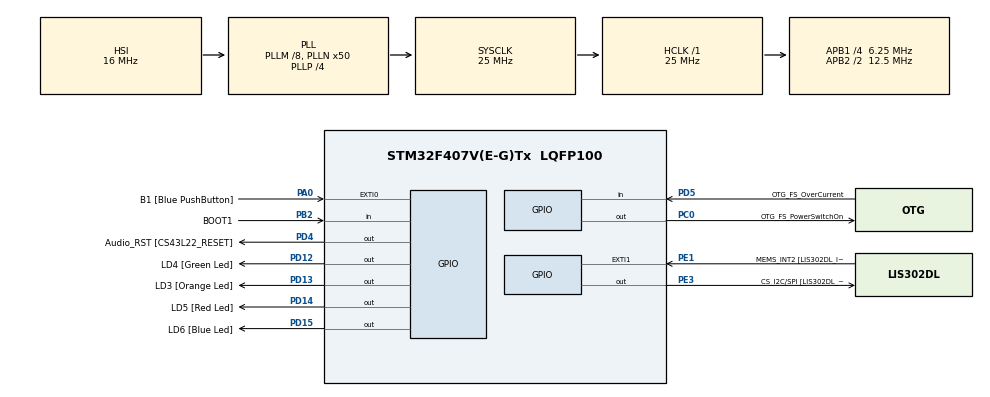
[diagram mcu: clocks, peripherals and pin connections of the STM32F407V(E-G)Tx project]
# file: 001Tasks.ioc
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Mcu.Family=STM32F4
Mcu.Name=STM32F407V(E-G)Tx
Mcu.Package=LQFP100
NVIC.PriorityGroup=NVIC_PRIORITYGROUP_4
NVIC.TIM6_DAC_IRQn=true\:15\:0\:false\:false\:true\:false\:true
NVIC.TimeBase=TIM6_DAC_IRQn
NVIC.TimeBaseIP=TIM6
PA0-WKUP.GPIO_Label=B1 [Blue PushButton]
PA0-WKUP.Signal=GPXTI0
PA10.GPIO_Label=OTG_FS_ID
PA10.GPIO_Mode=GPIO_MODE_AF_PP
PA10.GPIO_PuPd=GPIO_NOPULL
PA10.GPIO_Speed=GPIO_SPEED_FREQ_LOW
PA10.Signal=USB_OTG_FS_ID
PA11.GPIO_Label=OTG_FS_DM
PA11.GPIO_Mode=GPIO_MODE_AF_PP
PA11.GPIO_PuPd=GPIO_NOPULL
PA11.GPIO_Speed=GPIO_SPEED_FREQ_LOW
PA11.Signal=USB_OTG_FS_DM
PA12.GPIO_Label=OTG_FS_DP
PA12.GPIO_Mode=GPIO_MODE_AF_PP
PA12.GPIO_PuPd=GPIO_NOPULL
PA12.GPIO_Speed=GPIO_SPEED_FREQ_LOW
PA12.Signal=USB_OTG_FS_DP
PA13.GPIO_Label=SWDIO
PA13.Signal=SYS_JTMS-SWDIO
PA14.GPIO_Label=SWCLK
PA14.Signal=SYS_JTCK-SWCLK
PA4.GPIO_Label=I2S3_WS [CS43L22_LRCK]
PA4.GPIO_Mode=GPIO_MODE_AF_PP
PA4.GPIO_PuPd=GPIO_NOPULL
PA4.GPIO_Speed=GPIO_SPEED_FREQ_LOW
PA4.Signal=I2S3_WS
PA5.GPIO_Label=SPI1_SCK [LIS302DL_SCL/SPC]
PA5.GPIO_Mode=GPIO_MODE_AF_PP
PA5.GPIO_PuPd=GPIO_NOPULL
PA5.GPIO_Speed=GPIO_SPEED_FREQ_LOW
PA5.Signal=SPI1_SCK
PA6.GPIO_Label=SPI1_MISO [LIS302DL_SDO]
PA6.GPIO_Mode=GPIO_MODE_AF_PP
PA6.GPIO_PuPd=GPIO_NOPULL
PA6.GPIO_Speed=GPIO_SPEED_FREQ_LOW
PA6.Signal=SPI1_MISO
PA7.GPIO_Label=SPI1_MOSI [LIS302DL_SDA/SDI/SDO]
PA7.GPIO_Mode=GPIO_MODE_AF_PP
PA7.GPIO_PuPd=GPIO_NOPULL
PA7.GPIO_Speed=GPIO_SPEED_FREQ_LOW
PA7.Signal=SPI1_MOSI
PA9.GPIO_Label=VBUS_FS
PA9.GPIO_Mode=GPIO_MODE_INPUT
PA9.GPIO_PuPd=GPIO_NOPULL
PA9.Signal=USB_OTG_FS_VBUS
PB10.GPIO_Label=CLK_IN [MP45DT02_CLK]
PB10.GPIO_Mode=GPIO_MODE_AF_PP
PB10.GPIO_PuPd=GPIO_NOPULL
PB10.GPIO_Speed=GPIO_SPEED_FREQ_LOW
PB10.Signal=I2S2_CK
PB2.GPIO_Label=BOOT1
PB2.GPIO_Mode=GPIO_MODE_INPUT
PB2.GPIO_PuPd=GPIO_NOPULL
PB2.Signal=GPIO_Input
PB3.GPIO_Label=SWO
PB3.Signal=SYS_JTDO-SWO
PB6.GPIO_Label=Audio_SCL [CS43L22_SCL]
PB6.GPIO_Mode=GPIO_MODE_AF_OD
PB6.GPIO_PuPd=GPIO_NOPULL
PB6.GPIO_Speed=GPIO_SPEED_FREQ_LOW
PB6.Signal=I2C1_SCL
PB9.GPIO_Label=Audio_SDA [CS43L22_SDA]
PB9.GPIO_Mode=GPIO_MODE_AF_OD
PB9.GPIO_PuPd=GPIO_NOPULL
PB9.GPIO_Speed=GPIO_SPEED_FREQ_LOW
PB9.Signal=I2C1_SDA
PC0.GPIO_Label=OTG_FS_PowerSwitchOn
PC0.GPIO_PuPd=GPIO_NOPULL
PC0.GPIO_Speed=GPIO_SPEED_FREQ_LOW
PC0.PinState=GPIO_PIN_SET
PC0.Signal=GPIO_Output
PC10.GPIO_Label=I2S3_SCK [CS43L22_SCLK]
PC10.GPIO_Mode=GPIO_MODE_AF_PP
PC10.GPIO_PuPd=GPIO_NOPULL
PC10.GPIO_Speed=GPIO_SPEED_FREQ_LOW
PC10.Signal=I2S3_CK
PC12.GPIO_Label=I2S3_SD [CS43L22_SDIN]
PC12.GPIO_Mode=GPIO_MODE_AF_PP
PC12.GPIO_PuPd=GPIO_NOPULL
PC12.GPIO_Speed=GPIO_SPEED_FREQ_LOW
PC12.Signal=I2S3_SD
PC14-OSC32_IN.GPIO_Label=PC14-OSC32_IN
PC14-OSC32_IN.Signal=RCC_OSC32_IN
PC15-OSC32_OUT.GPIO_Label=PC15-OSC32_OUT
PC15-OSC32_OUT.Signal=RCC_OSC32_OUT
PC3.GPIO_Label=PDM_OUT [MP45DT02_DOUT]
PC3.GPIO_Mode=GPIO_MODE_AF_PP
PC3.GPIO_PuPd=GPIO_NOPULL
PC3.GPIO_Speed=GPIO_SPEED_FREQ_LOW
PC3.Signal=I2S2_SD
PC7.GPIO_Label=I2S3_MCK [CS43L22_MCLK]
PC7.GPIO_Mode=GPIO_MODE_AF_PP
PC7.GPIO_PuPd=GPIO_NOPULL
PC7.GPIO_Speed=GPIO_SPEED_FREQ_LOW
PC7.Signal=I2S3_MCK
PD12.GPIO_Label=LD4 [Green Led]
PD12.GPIO_PuPd=GPIO_NOPULL
PD12.GPIO_Speed=GPIO_SPEED_FREQ_LOW
PD12.Signal=GPIO_Output
PD13.GPIO_Label=LD3 [Orange Led]
PD13.GPIO_PuPd=GPIO_NOPULL
PD13.GPIO_Speed=GPIO_SPEED_FREQ_LOW
PD13.Signal=GPIO_Output
PD14.GPIO_Label=LD5 [Red Led]
PD14.GPIO_PuPd=GPIO_NOPULL
PD14.GPIO_Speed=GPIO_SPEED_FREQ_LOW
PD14.Signal=GPIO_Output
PD15.GPIO_Label=LD6 [Blue Led]
PD15.GPIO_PuPd=GPIO_NOPULL
PD15.GPIO_Speed=GPIO_SPEED_FREQ_LOW
PD15.Signal=GPIO_Output
PD4.GPIO_Label=Audio_RST [CS43L22_RESET]
PD4.GPIO_PuPd=GPIO_NOPULL
PD4.GPIO_Speed=GPIO_SPEED_FREQ_LOW
PD4.Signal=GPIO_Output
PD5.GPIO_Label=OTG_FS_OverCurrent
PD5.GPIO_Mode=GPIO_MODE_INPUT
PD5.GPIO_PuPd=GPIO_NOPULL
PD5.Signal=GPIO_Input
PE1.GPIO_Label=MEMS_INT2 [LIS302DL_INT2]
PE1.GPIO_ModeDefaultEXTI=GPIO_MODE_EVT_RISING
PE1.GPIO_PuPd=GPIO_NOPULL
PE1.Signal=GPXTI1
PE3.GPIO_Label=CS_I2C/SPI [LIS302DL_CS_I2C/SPI]
PE3.GPIO_PuPd=GPIO_NOPULL
PE3.GPIO_Speed=GPIO_SPEED_FREQ_LOW
PE3.Signal=GPIO_Output
PH0-OSC_IN.GPIO_Label=PH0-OSC_IN
PH0-OSC_IN.Signal=RCC_OSC_IN
PH1-OSC_OUT.GPIO_Label=PH1-OSC_OUT
PH1-OSC_OUT.Signal=RCC_OSC_OUT
ProjectManager.HeapSize=0x200
ProjectManager.StackSize=0x400
ProjectManager.TargetToolchain=STM32CubeIDE
RCC.48MHZClocksFreq_Value=14285714.285714285
RCC.AHBFreq_Value=25000000
RCC.APB1CLKDivider=RCC_HCLK_DIV4
RCC.APB1Freq_Value=6250000
RCC.APB1TimFreq_Value=12500000
RCC.APB2CLKDivider=RCC_HCLK_DIV2
RCC.APB2Freq_Value=12500000
RCC.APB2TimFreq_Value=25000000
RCC.CortexFreq_Value=25000000
RCC.HCLKFreq_Value=25000000
RCC.HSE_VALUE=8000000
RCC.HSI_VALUE=16000000
RCC.LSE_VALUE=32768
RCC.PLLM=8
RCC.PLLN=50
RCC.PLLP=RCC_PLLP_DIV4
RCC.PLLQ=7
RCC.SYSCLKFreq_VALUE=25000000
RCC.SYSCLKSource=RCC_SYSCLKSOURCE_PLLCLK
RCC.VCOOutputFreq_Value=100000000
VP_SYS_VS_tim6.Mode=TIM6
board=STM32F407G-DISC1

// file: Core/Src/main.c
/* USER CODE BEGIN Header */
/**
  ******************************************************************************
  * @file           : main.c
  * @brief          : Main program body
  ******************************************************************************
  * @attention
  *
  * Copyright (c) 2022 STMicroelectronics.
  * All rights reserved.
  *
  * This software is licensed under terms that can be found in the LICENSE file
  * in the root directory of this software component.
  * If no LICENSE file comes with this software, it is provided AS-IS.
  *
  ******************************************************************************
  */
/* USER CODE END Header */
#include "main.h"

/* USER CODE BEGIN Includes */
#include <stdio.h>
#include "FreeRTOS.h"
#include "task.h"

/* USER CODE END Includes */

/* USER CODE BEGIN PV */
//for segger timer setting
#define DWT_CTRL    (*(volatile uint32_t*)0xE0001000)

/* USER CODE END PV */

void SystemClock_Config(void);
static void MX_GPIO_Init(void);
/* USER CODE BEGIN PFP */
static void task1_handler(void* parameters);
static void task2_handler(void* parameters);
/* USER CODE END PFP */

int main(void)
{
  /* USER CODE BEGIN 1 */
  TaskHandle_t task1_handle;
  TaskHandle_t task2_handle;

  BaseType_t  status;
  /* USER CODE END 1 */

  /* MCU Configuration--------------------------------------------------------*/

  /* Reset of all peripherals, Initializes the Flash interface and the Systick. */
  HAL_Init();

  /* Configure the system clock */
  SystemClock_Config();

  /* Initialize all configured peripherals */
  MX_GPIO_Init();
  /* USER CODE BEGIN 2 */

  //for SEGGER settings
  DWT_CTRL |= ( 1 << 0);

  SEGGER_SYSVIEW_Conf();
  SEGGER_SYSVIEW_Start();
  //end of segger settings

  status = xTaskCreate(
						  task1_handler,       /* Function that implements the task. */
						  "task-1",          /* Text name for the task. */
						  200,      /* Stack size in words, not bytes. */
						  "hello world from Task-1",    /* Parameter passed into the task. */
						  2,/* Priority at which the task is created. */
						  &task1_handle );
  configASSERT(status == pdPASS);

  status = xTaskCreate(
  						  task2_handler,       /* Function that implements the task. */
  						  "task-2",          /* Text name for the task. */
  						  200,      /* Stack size in words, not bytes. */
  						  "hello world from Task-2",    /* Parameter passed into the task. */
  						  2,/* Priority at which the task is created. */
  						  &task2_handle );
  configASSERT(status == pdPASS);

  //start the freeRTOS scheduler
  vTaskStartScheduler();

  /* USER CODE END 2 */

  /* Infinite loop */
  while (1)
  {

  }
}

void SystemClock_Config(void)
{
  RCC_OscInitTypeDef RCC_OscInitStruct = {0};
  RCC_ClkInitTypeDef RCC_ClkInitStruct = {0};

  /** Configure the main internal regulator output voltage
  */
  __HAL_RCC_PWR_CLK_ENABLE();
  __HAL_PWR_VOLTAGESCALING_CONFIG(PWR_REGULATOR_VOLTAGE_SCALE1);
  /** Initializes the RCC Oscillators according to the specified parameters
  * in the RCC_OscInitTypeDef structure.
  */
  RCC_OscInitStruct.OscillatorType = RCC_OSCILLATORTYPE_HSI;
  RCC_OscInitStruct.HSIState = RCC_HSI_ON;
  RCC_OscInitStruct.HSICalibrationValue = RCC_HSICALIBRATION_DEFAULT;
  RCC_OscInitStruct.PLL.PLLState = RCC_PLL_ON;
  RCC_OscInitStruct.PLL.PLLSource = RCC_PLLSOURCE_HSI;
  RCC_OscInitStruct.PLL.PLLM = 8;
  RCC_OscInitStruct.PLL.PLLN = 50;
  RCC_OscInitStruct.PLL.PLLP = RCC_PLLP_DIV4;
  RCC_OscInitStruct.PLL.PLLQ = 7;
  if (HAL_RCC_OscConfig(&RCC_OscInitStruct) != HAL_OK)
  {
    Error_Handler();
  }
  /** Initializes the CPU, AHB and APB buses clocks
  */
  RCC_ClkInitStruct.ClockType = RCC_CLOCKTYPE_HCLK|RCC_CLOCKTYPE_SYSCLK
                              |RCC_CLOCKTYPE_PCLK1|RCC_CLOCKTYPE_PCLK2;
  RCC_ClkInitStruct.SYSCLKSource = RCC_SYSCLKSOURCE_PLLCLK;
  RCC_ClkInitStruct.AHBCLKDivider = RCC_SYSCLK_DIV1;
  RCC_ClkInitStruct.APB1CLKDivider = RCC_HCLK_DIV4;
  RCC_ClkInitStruct.APB2CLKDivider = RCC_HCLK_DIV2;

  if (HAL_RCC_ClockConfig(&RCC_ClkInitStruct, FLASH_LATENCY_0) != HAL_OK)
  {
    Error_Handler();
  }
}

static void MX_GPIO_Init(void)
{
  GPIO_InitTypeDef GPIO_InitStruct = {0};

  /* GPIO Ports Clock Enable */
  __HAL_RCC_GPIOE_CLK_ENABLE();
  __HAL_RCC_GPIOC_CLK_ENABLE();
  __HAL_RCC_GPIOH_CLK_ENABLE();
  __HAL_RCC_GPIOA_CLK_ENABLE();
  __HAL_RCC_GPIOB_CLK_ENABLE();
  __HAL_RCC_GPIOD_CLK_ENABLE();

  /*Configure GPIO pin Output Level */
  HAL_GPIO_WritePin(CS_I2C_SPI_GPIO_Port, CS_I2C_SPI_Pin, GPIO_PIN_RESET);

  /*Configure GPIO pin Output Level */
  HAL_GPIO_WritePin(OTG_FS_PowerSwitchOn_GPIO_Port, OTG_FS_PowerSwitchOn_Pin, GPIO_PIN_SET);

  /*Configure GPIO pin Output Level */
  HAL_GPIO_WritePin(GPIOD, LD4_Pin|LD3_Pin|LD5_Pin|LD6_Pin
                          |Audio_RST_Pin, GPIO_PIN_RESET);

  /*Configure GPIO pin : CS_I2C_SPI_Pin */
  GPIO_InitStruct.Pin = CS_I2C_SPI_Pin;
  GPIO_InitStruct.Mode = GPIO_MODE_OUTPUT_PP;
  GPIO_InitStruct.Pull = GPIO_NOPULL;
  GPIO_InitStruct.Speed = GPIO_SPEED_FREQ_LOW;
  HAL_GPIO_Init(CS_I2C_SPI_GPIO_Port, &GPIO_InitStruct);

  /*Configure GPIO pin : OTG_FS_PowerSwitchOn_Pin */
  GPIO_InitStruct.Pin = OTG_FS_PowerSwitchOn_Pin;
  GPIO_InitStruct.Mode = GPIO_MODE_OUTPUT_PP;
  GPIO_InitStruct.Pull = GPIO_NOPULL;
  GPIO_InitStruct.Speed = GPIO_SPEED_FREQ_LOW;
  HAL_GPIO_Init(OTG_FS_PowerSwitchOn_GPIO_Port, &GPIO_InitStruct);

  /*Configure GPIO pin : PDM_OUT_Pin */
  GPIO_InitStruct.Pin = PDM_OUT_Pin;
  GPIO_InitStruct.Mode = GPIO_MODE_AF_PP;
  GPIO_InitStruct.Pull = GPIO_NOPULL;
  GPIO_InitStruct.Speed = GPIO_SPEED_FREQ_LOW;
  GPIO_InitStruct.Alternate = GPIO_AF5_SPI2;
  HAL_GPIO_Init(PDM_OUT_GPIO_Port, &GPIO_InitStruct);

  /*Configure GPIO pin : B1_Pin */
  GPIO_InitStruct.Pin = B1_Pin;
  GPIO_InitStruct.Mode = GPIO_MODE_IT_RISING;
  GPIO_InitStruct.Pull = GPIO_NOPULL;
  HAL_GPIO_Init(B1_GPIO_Port, &GPIO_InitStruct);

  /*Configure GPIO pin : I2S3_WS_Pin */
  GPIO_InitStruct.Pin = I2S3_WS_Pin;
  GPIO_InitStruct.Mode = GPIO_MODE_AF_PP;
  GPIO_InitStruct.Pull = GPIO_NOPULL;
  GPIO_InitStruct.Speed = GPIO_SPEED_FREQ_LOW;
  GPIO_InitStruct.Alternate = GPIO_AF6_SPI3;
  HAL_GPIO_Init(I2S3_WS_GPIO_Port, &GPIO_InitStruct);

  /*Configure GPIO pins : SPI1_SCK_Pin SPI1_MISO_Pin SPI1_MOSI_Pin */
  GPIO_InitStruct.Pin = SPI1_SCK_Pin|SPI1_MISO_Pin|SPI1_MOSI_Pin;
  GPIO_InitStruct.Mode = GPIO_MODE_AF_PP;
  GPIO_InitStruct.Pull = GPIO_NOPULL;
  GPIO_InitStruct.Speed = GPIO_SPEED_FREQ_LOW;
  GPIO_InitStruct.Alternate = GPIO_AF5_SPI1;
  HAL_GPIO_Init(GPIOA, &GPIO_InitStruct);

  /*Configure GPIO pin : BOOT1_Pin */
  GPIO_InitStruct.Pin = BOOT1_Pin;
  GPIO_InitStruct.Mode = GPIO_MODE_INPUT;
  GPIO_InitStruct.Pull = GPIO_NOPULL;
  HAL_GPIO_Init(BOOT1_GPIO_Port, &GPIO_InitStruct);

  /*Configure GPIO pin : CLK_IN_Pin */
  GPIO_InitStruct.Pin = CLK_IN_Pin;
  GPIO_InitStruct.Mode = GPIO_MODE_AF_PP;
  GPIO_InitStruct.Pull = GPIO_NOPULL;
  GPIO_InitStruct.Speed = GPIO_SPEED_FREQ_LOW;
  GPIO_InitStruct.Alternate = GPIO_AF5_SPI2;
  HAL_GPIO_Init(CLK_IN_GPIO_Port, &GPIO_InitStruct);

  /*Configure GPIO pins : LD4_Pin LD3_Pin LD5_Pin LD6_Pin
                           Audio_RST_Pin */
  GPIO_InitStruct.Pin = LD4_Pin|LD3_Pin|LD5_Pin|LD6_Pin
                          |Audio_RST_Pin;
  GPIO_InitStruct.Mode = GPIO_MODE_OUTPUT_PP;
  GPIO_InitStruct.Pull = GPIO_NOPULL;
  GPIO_InitStruct.Speed = GPIO_SPEED_FREQ_LOW;
  HAL_GPIO_Init(GPIOD, &GPIO_InitStruct);

  /*Configure GPIO pins : I2S3_MCK_Pin I2S3_SCK_Pin I2S3_SD_Pin */
  GPIO_InitStruct.Pin = I2S3_MCK_Pin|I2S3_SCK_Pin|I2S3_SD_Pin;
  GPIO_InitStruct.Mode = GPIO_MODE_AF_PP;
  GPIO_InitStruct.Pull = GPIO_NOPULL;
  GPIO_InitStruct.Speed = GPIO_SPEED_FREQ_LOW;
  GPIO_InitStruct.Alternate = GPIO_AF6_SPI3;
  HAL_GPIO_Init(GPIOC, &GPIO_InitStruct);

  /*Configure GPIO pin : VBUS_FS_Pin */
  GPIO_InitStruct.Pin = VBUS_FS_Pin;
  GPIO_InitStruct.Mode = GPIO_MODE_INPUT;
  GPIO_InitStruct.Pull = GPIO_NOPULL;
  HAL_GPIO_Init(VBUS_FS_GPIO_Port, &GPIO_InitStruct);

  /*Configure GPIO pins : OTG_FS_ID_Pin OTG_FS_DM_Pin OTG_FS_DP_Pin */
  GPIO_InitStruct.Pin = OTG_FS_ID_Pin|OTG_FS_DM_Pin|OTG_FS_DP_Pin;
  GPIO_InitStruct.Mode = GPIO_MODE_AF_PP;
  GPIO_InitStruct.Pull = GPIO_NOPULL;
  GPIO_InitStruct.Speed = GPIO_SPEED_FREQ_LOW;
  GPIO_InitStruct.Alternate = GPIO_AF10_OTG_FS;
  HAL_GPIO_Init(GPIOA, &GPIO_InitStruct);

  /*Configure GPIO pin : OTG_FS_OverCurrent_Pin */
  GPIO_InitStruct.Pin = OTG_FS_OverCurrent_Pin;
  GPIO_InitStruct.Mode = GPIO_MODE_INPUT;
  GPIO_InitStruct.Pull = GPIO_NOPULL;
  HAL_GPIO_Init(OTG_FS_OverCurrent_GPIO_Port, &GPIO_InitStruct);

  /*Configure GPIO pins : Audio_SCL_Pin Audio_SDA_Pin */
  GPIO_InitStruct.Pin = Audio_SCL_Pin|Audio_SDA_Pin;
  GPIO_InitStruct.Mode = GPIO_MODE_AF_OD;
  GPIO_InitStruct.Pull = GPIO_NOPULL;
  GPIO_InitStruct.Speed = GPIO_SPEED_FREQ_LOW;
  GPIO_InitStruct.Alternate = GPIO_AF4_I2C1;
  HAL_GPIO_Init(GPIOB, &GPIO_InitStruct);

  /*Configure GPIO pin : MEMS_INT2_Pin */
  GPIO_InitStruct.Pin = MEMS_INT2_Pin;
  GPIO_InitStruct.Mode = GPIO_MODE_EVT_RISING;
  GPIO_InitStruct.Pull = GPIO_NOPULL;
  HAL_GPIO_Init(MEMS_INT2_GPIO_Port, &GPIO_InitStruct);

}

/* USER CODE BEGIN 4 */
static void task1_handler(void* parameters)
{

	char msg[100];

	while(1)
	{
		snprintf(msg,100,"%s\n", (char*)parameters);
		SEGGER_SYSVIEW_PrintfTarget(msg);
		taskYIELD();
	}

}

static void task2_handler(void* parameters)
{
	char msg[100];
	while(1)
	{
		snprintf(msg,100,"%s\n", (char*)parameters);
		SEGGER_SYSVIEW_PrintfTarget(msg);
		taskYIELD();
	}

}
/* USER CODE END 4 */

void HAL_TIM_PeriodElapsedCallback(TIM_HandleTypeDef *htim)
{
  if (htim->Instance == TIM6) {
    HAL_IncTick();
  }
}

void Error_Handler(void)
{
  __disable_irq();
  while (1)
  {
  }
}
